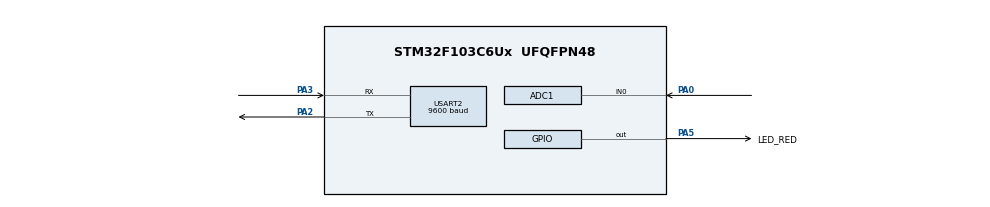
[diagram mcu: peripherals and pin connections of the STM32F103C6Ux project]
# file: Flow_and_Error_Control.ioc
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ADC1.Channel-0\#ChannelRegularConversion=ADC_CHANNEL_0
ADC1.ContinuousConvMode=ENABLE
ADC1.NbrOfConversionFlag=1
ADC1.Rank-0\#ChannelRegularConversion=1
ADC1.SamplingTime-0\#ChannelRegularConversion=ADC_SAMPLETIME_1CYCLE_5
ADC1.master=1
Mcu.Family=STM32F1
Mcu.Name=STM32F103C6Ux
Mcu.Package=UFQFPN48
NVIC.PriorityGroup=NVIC_PRIORITYGROUP_4
NVIC.TIM2_IRQn=true\:0\:0\:false\:false\:true\:true\:true
NVIC.USART2_IRQn=true\:0\:0\:false\:false\:true\:true\:true
PA0-WKUP.Signal=ADCx_IN0
PA2.Mode=Asynchronous
PA2.Signal=USART2_TX
PA3.Mode=Asynchronous
PA3.Signal=USART2_RX
PA5.GPIO_Label=LED_RED
PA5.Signal=GPIO_Output
ProjectManager.HeapSize=0x200
ProjectManager.StackSize=0x400
ProjectManager.TargetToolchain=STM32CubeIDE
RCC.APB1Freq_Value=8000000
RCC.APB2Freq_Value=8000000
SH.ADCx_IN0.0=ADC1_IN0,IN0
TIM2.Period=9
TIM2.Prescaler=7999
USART2.BaudRate=9600
USART2.VirtualMode=VM_ASYNC
VP_SYS_VS_ND.Mode=No_Debug
VP_TIM2_VS_ClockSourceINT.Mode=Internal
board=custom

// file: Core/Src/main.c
/* USER CODE BEGIN Header */
/**
  ******************************************************************************
  * @file           : main.c
  * @brief          : Main program body
  ******************************************************************************
  * @attention
  *
  * <h2><center>&copy; Copyright (c) 2024 STMicroelectronics.
  * All rights reserved.</center></h2>
  *
  * This software component is licensed by ST under BSD 3-Clause license,
  * the "License"; You may not use this file except in compliance with the
  * License. You may obtain a copy of the License at:
  *                        opensource.org/licenses/BSD-3-Clause
  *
  ******************************************************************************
  */
/* USER CODE END Header */
#include "main.h"

/* USER CODE BEGIN Includes */
#include <stdio.h>
#include <software_timer.h>
#include <string.h>
/* USER CODE END Includes */

/* USER CODE BEGIN PD */
#define MAX_BUFFER_SIZE 30

#define RST 	10
#define OK 		12
/* USER CODE END PD */

ADC_HandleTypeDef hadc1;

TIM_HandleTypeDef htim2;

UART_HandleTypeDef huart2;

void SystemClock_Config(void);
static void MX_GPIO_Init(void);
static void MX_ADC1_Init(void);
static void MX_USART2_UART_Init(void);
static void MX_TIM2_Init(void);

/* USER CODE BEGIN 0 */
uint8_t temp = 0;
uint8_t buffer[MAX_BUFFER_SIZE];
uint8_t index_buffer = 0;
uint8_t buffer_flag = 0;
uint32_t ADC_value = 0;

int status = 0;
char str[50];

void HAL_UART_RxCpltCallback(UART_HandleTypeDef *huart){
	if(huart->Instance == USART2){
		HAL_UART_Transmit(&huart2, &temp, 1, 50);
		buffer[index_buffer++] = temp;
		if(index_buffer >= MAX_BUFFER_SIZE) index_buffer = 0;

		buffer_flag = 1;
		HAL_UART_Receive_IT(&huart2, &temp, 1);
	}
}

void command_parser_fsm()
{
	if (strstr((char*)buffer, "!RST#")) {
		status = RST;
		ADC_value = HAL_ADC_GetValue(&hadc1);
		HAL_UART_Transmit(&huart2, (void *)str, sprintf(str, "!ADC=%lu#\r\n", ADC_value), 500);
		setTimer(0, 3000);
		memset(buffer, 0, sizeof(buffer));
		index_buffer = 0;
	}
	else if (strstr((char*)buffer, "!OK#")) {
		status = OK;
		memset(buffer, 0, sizeof(buffer));
		index_buffer = 0;
	}
}

void uart_communication_fsm()
{
	switch (status) {
	case RST:
		if (isTimerExpired(0)) {
			HAL_UART_Transmit(&huart2, (void *)str, sprintf(str, "!ADC=%lu#\r\n",ADC_value), 500);
			setTimer(0, 3000);
		}
		break;
	case OK:
		ADC_value = -1;
		break;
	}
}

/* USER CODE END 0 */

int main(void)
{

  /* MCU Configuration--------------------------------------------------------*/

  /* Reset of all peripherals, Initializes the Flash interface and the Systick. */
  HAL_Init();

  /* Configure the system clock */
  SystemClock_Config();

  /* Initialize all configured peripherals */
  MX_GPIO_Init();
  MX_ADC1_Init();
  MX_USART2_UART_Init();
  MX_TIM2_Init();
  /* USER CODE BEGIN 2 */
  HAL_TIM_Base_Start_IT(&htim2);
  HAL_UART_Receive_IT(&huart2, &temp, 1);
  HAL_ADC_Start(&hadc1);
  /* USER CODE END 2 */

  /* Infinite loop */
  /* USER CODE BEGIN WHILE */

  char welcome[] = "HELLO UART COMMUNICATION\r\n";
  HAL_UART_Transmit(&huart2, (void *)welcome, strlen(welcome), 500);
  while (1)
  {
	  if(buffer_flag == 1){
		  command_parser_fsm();
		  buffer_flag = 0;
	  }
	  uart_communication_fsm();
    /* USER CODE END WHILE */

  }
}

void SystemClock_Config(void)
{
  RCC_OscInitTypeDef RCC_OscInitStruct = {0};
  RCC_ClkInitTypeDef RCC_ClkInitStruct = {0};
  RCC_PeriphCLKInitTypeDef PeriphClkInit = {0};

  /** Initializes the RCC Oscillators according to the specified parameters
  * in the RCC_OscInitTypeDef structure.
  */
  RCC_OscInitStruct.OscillatorType = RCC_OSCILLATORTYPE_HSI;
  RCC_OscInitStruct.HSIState = RCC_HSI_ON;
  RCC_OscInitStruct.HSICalibrationValue = RCC_HSICALIBRATION_DEFAULT;
  RCC_OscInitStruct.PLL.PLLState = RCC_PLL_NONE;
  if (HAL_RCC_OscConfig(&RCC_OscInitStruct) != HAL_OK)
  {
    Error_Handler();
  }
  /** Initializes the CPU, AHB and APB buses clocks
  */
  RCC_ClkInitStruct.ClockType = RCC_CLOCKTYPE_HCLK|RCC_CLOCKTYPE_SYSCLK
                              |RCC_CLOCKTYPE_PCLK1|RCC_CLOCKTYPE_PCLK2;
  RCC_ClkInitStruct.SYSCLKSource = RCC_SYSCLKSOURCE_HSI;
  RCC_ClkInitStruct.AHBCLKDivider = RCC_SYSCLK_DIV1;
  RCC_ClkInitStruct.APB1CLKDivider = RCC_HCLK_DIV1;
  RCC_ClkInitStruct.APB2CLKDivider = RCC_HCLK_DIV1;

  if (HAL_RCC_ClockConfig(&RCC_ClkInitStruct, FLASH_LATENCY_0) != HAL_OK)
  {
    Error_Handler();
  }
  PeriphClkInit.PeriphClockSelection = RCC_PERIPHCLK_ADC;
  PeriphClkInit.AdcClockSelection = RCC_ADCPCLK2_DIV2;
  if (HAL_RCCEx_PeriphCLKConfig(&PeriphClkInit) != HAL_OK)
  {
    Error_Handler();
  }
}

static void MX_ADC1_Init(void)
{

  ADC_ChannelConfTypeDef sConfig = {0};

  /** Common config
  */
  hadc1.Instance = ADC1;
  hadc1.Init.ScanConvMode = ADC_SCAN_DISABLE;
  hadc1.Init.ContinuousConvMode = ENABLE;
  hadc1.Init.DiscontinuousConvMode = DISABLE;
  hadc1.Init.ExternalTrigConv = ADC_SOFTWARE_START;
  hadc1.Init.DataAlign = ADC_DATAALIGN_RIGHT;
  hadc1.Init.NbrOfConversion = 1;
  if (HAL_ADC_Init(&hadc1) != HAL_OK)
  {
    Error_Handler();
  }
  /** Configure Regular Channel
  */
  sConfig.Channel = ADC_CHANNEL_0;
  sConfig.Rank = ADC_REGULAR_RANK_1;
  sConfig.SamplingTime = ADC_SAMPLETIME_1CYCLE_5;
  if (HAL_ADC_ConfigChannel(&hadc1, &sConfig) != HAL_OK)
  {
    Error_Handler();
  }

}

static void MX_TIM2_Init(void)
{

  TIM_ClockConfigTypeDef sClockSourceConfig = {0};
  TIM_MasterConfigTypeDef sMasterConfig = {0};

  htim2.Instance = TIM2;
  htim2.Init.Prescaler = 7999;
  htim2.Init.CounterMode = TIM_COUNTERMODE_UP;
  htim2.Init.Period = 9;
  htim2.Init.ClockDivision = TIM_CLOCKDIVISION_DIV1;
  htim2.Init.AutoReloadPreload = TIM_AUTORELOAD_PRELOAD_DISABLE;
  if (HAL_TIM_Base_Init(&htim2) != HAL_OK)
  {
    Error_Handler();
  }
  sClockSourceConfig.ClockSource = TIM_CLOCKSOURCE_INTERNAL;
  if (HAL_TIM_ConfigClockSource(&htim2, &sClockSourceConfig) != HAL_OK)
  {
    Error_Handler();
  }
  sMasterConfig.MasterOutputTrigger = TIM_TRGO_RESET;
  sMasterConfig.MasterSlaveMode = TIM_MASTERSLAVEMODE_DISABLE;
  if (HAL_TIMEx_MasterConfigSynchronization(&htim2, &sMasterConfig) != HAL_OK)
  {
    Error_Handler();
  }

}

static void MX_USART2_UART_Init(void)
{

  huart2.Instance = USART2;
  huart2.Init.BaudRate = 9600;
  huart2.Init.WordLength = UART_WORDLENGTH_8B;
  huart2.Init.StopBits = UART_STOPBITS_1;
  huart2.Init.Parity = UART_PARITY_NONE;
  huart2.Init.Mode = UART_MODE_TX_RX;
  huart2.Init.HwFlowCtl = UART_HWCONTROL_NONE;
  huart2.Init.OverSampling = UART_OVERSAMPLING_16;
  if (HAL_UART_Init(&huart2) != HAL_OK)
  {
    Error_Handler();
  }

}

static void MX_GPIO_Init(void)
{
  GPIO_InitTypeDef GPIO_InitStruct = {0};

  /* GPIO Ports Clock Enable */
  __HAL_RCC_GPIOA_CLK_ENABLE();

  /*Configure GPIO pin Output Level */
  HAL_GPIO_WritePin(LED_RED_GPIO_Port, LED_RED_Pin, GPIO_PIN_RESET);

  /*Configure GPIO pin : LED_RED_Pin */
  GPIO_InitStruct.Pin = LED_RED_Pin;
  GPIO_InitStruct.Mode = GPIO_MODE_OUTPUT_PP;
  GPIO_InitStruct.Pull = GPIO_NOPULL;
  GPIO_InitStruct.Speed = GPIO_SPEED_FREQ_LOW;
  HAL_GPIO_Init(LED_RED_GPIO_Port, &GPIO_InitStruct);

}

/* USER CODE BEGIN 4 */
void HAL_TIM_PeriodElapsedCallback(TIM_HandleTypeDef *htim) {
	timerRun();
}
/* USER CODE END 4 */

void Error_Handler(void)
{
  __disable_irq();
  while (1)
  {
  }
}

/************************ (C) COPYRIGHT STMicroelectronics *****END OF FILE****/
